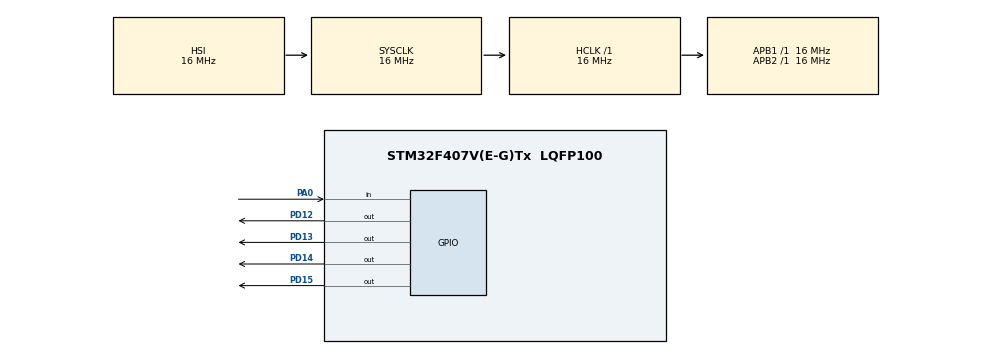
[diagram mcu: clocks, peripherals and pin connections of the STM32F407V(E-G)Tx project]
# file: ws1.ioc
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Mcu.Family=STM32F4
Mcu.Name=STM32F407V(E-G)Tx
Mcu.Package=LQFP100
NVIC.PriorityGroup=NVIC_PRIORITYGROUP_4
PA0-WKUP.Signal=GPIO_Input
PD12.Signal=GPIO_Output
PD13.Signal=GPIO_Output
PD14.Signal=GPIO_Output
PD15.Signal=GPIO_Output
ProjectManager.HeapSize=0x200
ProjectManager.StackSize=0x400
ProjectManager.TargetToolchain=STM32CubeIDE
RCC.AHBFreq_Value=16000000
RCC.APB1Freq_Value=16000000
RCC.APB2Freq_Value=16000000
RCC.CortexFreq_Value=16000000
RCC.HSE_VALUE=25000000
RCC.HSI_VALUE=16000000
RCC.LSE_VALUE=32768
RCC.SYSCLKFreq_VALUE=16000000
RCC.VCOOutputFreq_Value=192000000
board=custom

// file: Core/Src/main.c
/* USER CODE BEGIN Header */
/**
  ******************************************************************************
  * @file           : main.c
  * @brief          : Main program body
  ******************************************************************************
  * @attention
  *
  * Copyright (c) 2026 STMicroelectronics.
  * All rights reserved.
  *
  * This software is licensed under terms that can be found in the LICENSE file
  * in the root directory of this software component.
  * If no LICENSE file comes with this software, it is provided AS-IS.
  *
  ******************************************************************************
  */
/* USER CODE END Header */
#include "main.h"

void SystemClock_Config(void);
static void MX_GPIO_Init(void);

int main(void)
{

  /* MCU Configuration--------------------------------------------------------*/

  /* Reset of all peripherals, Initializes the Flash interface and the Systick. */
  HAL_Init();

  /* Configure the system clock */
  SystemClock_Config();

  /* Initialize all configured peripherals */
  MX_GPIO_Init();

  /* Infinite loop */
  /* USER CODE BEGIN WHILE */
  while (1)
  {
	  if(HAL_GPIO_ReadPin(GPIOA,GPIO_PIN_0) == GPIO_PIN_SET){
			HAL_GPIO_WritePin(GPIOD, GPIO_PIN_15, GPIO_PIN_RESET);
			HAL_GPIO_WritePin(GPIOD, GPIO_PIN_12, GPIO_PIN_SET);
			HAL_Delay(500);
			HAL_GPIO_WritePin(GPIOD, GPIO_PIN_12, GPIO_PIN_RESET);
			HAL_GPIO_WritePin(GPIOD, GPIO_PIN_13, GPIO_PIN_SET);
			HAL_Delay(500);
			HAL_GPIO_WritePin(GPIOD, GPIO_PIN_13, GPIO_PIN_RESET);
			HAL_GPIO_WritePin(GPIOD, GPIO_PIN_14, GPIO_PIN_SET);
			HAL_Delay(500);

			HAL_GPIO_WritePin(GPIOD, GPIO_PIN_14, GPIO_PIN_RESET);
			HAL_GPIO_WritePin(GPIOD, GPIO_PIN_15, GPIO_PIN_SET);
			HAL_Delay(500);
	  }
	  else{
		  HAL_GPIO_WritePin(GPIOD, GPIO_PIN_12, GPIO_PIN_SET);
		  HAL_GPIO_WritePin(GPIOD, GPIO_PIN_13, GPIO_PIN_SET);
		  HAL_GPIO_WritePin(GPIOD, GPIO_PIN_14, GPIO_PIN_SET);
		  HAL_GPIO_WritePin(GPIOD, GPIO_PIN_15, GPIO_PIN_SET);
		  HAL_Delay(500);
		  HAL_GPIO_WritePin(GPIOD, GPIO_PIN_12, GPIO_PIN_RESET);
		  HAL_GPIO_WritePin(GPIOD, GPIO_PIN_13, GPIO_PIN_RESET);
		  HAL_GPIO_WritePin(GPIOD, GPIO_PIN_14, GPIO_PIN_RESET);
		  HAL_GPIO_WritePin(GPIOD, GPIO_PIN_15, GPIO_PIN_RESET);
		  HAL_Delay(500);
	  }

    /* USER CODE END WHILE */

  }
}

void SystemClock_Config(void)
{
  RCC_OscInitTypeDef RCC_OscInitStruct = {0};
  RCC_ClkInitTypeDef RCC_ClkInitStruct = {0};

  /** Configure the main internal regulator output voltage
  */
  __HAL_RCC_PWR_CLK_ENABLE();
  __HAL_PWR_VOLTAGESCALING_CONFIG(PWR_REGULATOR_VOLTAGE_SCALE1);

  /** Initializes the RCC Oscillators according to the specified parameters
  * in the RCC_OscInitTypeDef structure.
  */
  RCC_OscInitStruct.OscillatorType = RCC_OSCILLATORTYPE_HSI;
  RCC_OscInitStruct.HSIState = RCC_HSI_ON;
  RCC_OscInitStruct.HSICalibrationValue = RCC_HSICALIBRATION_DEFAULT;
  RCC_OscInitStruct.PLL.PLLState = RCC_PLL_NONE;
  if (HAL_RCC_OscConfig(&RCC_OscInitStruct) != HAL_OK)
  {
    Error_Handler();
  }

  /** Initializes the CPU, AHB and APB buses clocks
  */
  RCC_ClkInitStruct.ClockType = RCC_CLOCKTYPE_HCLK|RCC_CLOCKTYPE_SYSCLK
                              |RCC_CLOCKTYPE_PCLK1|RCC_CLOCKTYPE_PCLK2;
  RCC_ClkInitStruct.SYSCLKSource = RCC_SYSCLKSOURCE_HSI;
  RCC_ClkInitStruct.AHBCLKDivider = RCC_SYSCLK_DIV1;
  RCC_ClkInitStruct.APB1CLKDivider = RCC_HCLK_DIV1;
  RCC_ClkInitStruct.APB2CLKDivider = RCC_HCLK_DIV1;

  if (HAL_RCC_ClockConfig(&RCC_ClkInitStruct, FLASH_LATENCY_0) != HAL_OK)
  {
    Error_Handler();
  }
}

static void MX_GPIO_Init(void)
{
  GPIO_InitTypeDef GPIO_InitStruct = {0};

  /* GPIO Ports Clock Enable */
  __HAL_RCC_GPIOA_CLK_ENABLE();
  __HAL_RCC_GPIOD_CLK_ENABLE();

  /*Configure GPIO pin Output Level */
  HAL_GPIO_WritePin(GPIOD, GPIO_PIN_12|GPIO_PIN_13|GPIO_PIN_14|GPIO_PIN_15, GPIO_PIN_RESET);

  /*Configure GPIO pin : PA0 */
  GPIO_InitStruct.Pin = GPIO_PIN_0;
  GPIO_InitStruct.Mode = GPIO_MODE_INPUT;
  GPIO_InitStruct.Pull = GPIO_NOPULL;
  HAL_GPIO_Init(GPIOA, &GPIO_InitStruct);

  /*Configure GPIO pins : PD12 PD13 PD14 PD15 */
  GPIO_InitStruct.Pin = GPIO_PIN_12|GPIO_PIN_13|GPIO_PIN_14|GPIO_PIN_15;
  GPIO_InitStruct.Mode = GPIO_MODE_OUTPUT_PP;
  GPIO_InitStruct.Pull = GPIO_NOPULL;
  GPIO_InitStruct.Speed = GPIO_SPEED_FREQ_LOW;
  HAL_GPIO_Init(GPIOD, &GPIO_InitStruct);

}

void Error_Handler(void)
{
  __disable_irq();
  while (1)
  {
  }
}
